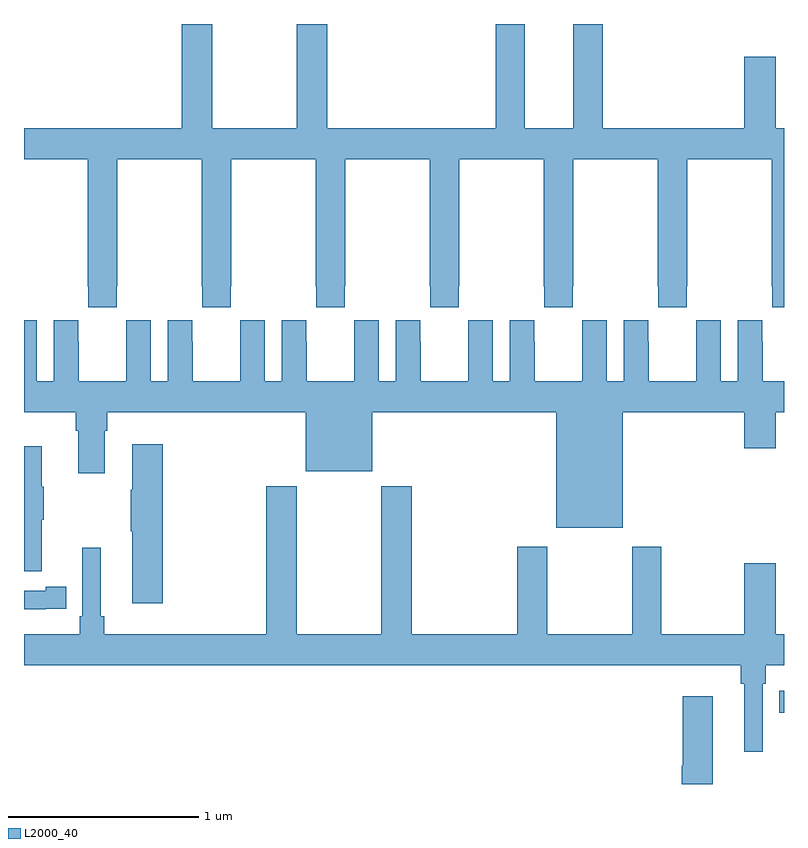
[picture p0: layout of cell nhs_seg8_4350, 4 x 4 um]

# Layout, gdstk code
import gdstk
lib = gdstk.Library(unit=1e-6, precision=1e-09)
def R(c, l, rs):  # rectangles x0, y0, x1, y1
    for r in rs: c.add(gdstk.rectangle(r[:2], r[2:], *l))
def P(c, l, *ps):  # polygons
    for p in ps: c.add(gdstk.Polygon(p, *l))
L2000_40 = (2000, 40)

nhs_seg8_4350 = lib.new_cell('nhs_seg8_4350')
R(nhs_seg8_4350, L2000_40, [(380.974,1092.274,381,1092.39)])
P(nhs_seg8_4350, L2000_40, [(377.487,1094.521),(377.49,1094.521),(377.49,1095.188),(377.935,1095.188),(377.935,1094.521),(377.937,1094.521),(377.937,1094.409),(378.087,1094.409),(378.087,1094.521),(378.09,1094.521),(378.09,1095.188),(378.535,1095.188),(378.535,1094.521),(378.537,1094.521),(378.537,1094.409),(378.687,1094.409),(378.687,1094.521),(378.69,1094.521),(378.69,1095.188),(379.135,1095.188),(379.135,1094.521),(379.137,1094.521),(379.137,1094.409),(379.287,1094.409),(379.287,1094.521),(379.29,1094.521),(379.29,1095.188),(379.735,1095.188),(379.735,1094.521),(379.737,1094.521),(379.737,1094.409),(379.887,1094.409),(379.887,1094.521),(379.89,1094.521),(379.89,1095.188),(380.335,1095.188),(380.335,1094.521),(380.337,1094.521),(380.337,1094.409),(380.487,1094.409),(380.487,1094.521),(380.49,1094.521),(380.49,1095.188),(380.935,1095.188),(380.935,1094.521),(380.937,1094.521),(380.937,1094.409),(381,1094.409),(381,1095.352),(380.956,1095.352),(380.956,1095.727),(380.792,1095.727),(380.792,1095.352),(380.045,1095.352),(380.045,1095.9),(379.892,1095.9),(379.892,1095.352),(379.636,1095.352),(379.636,1095.9),(379.484,1095.9),(379.484,1095.352),(378.596,1095.352),(378.596,1095.9),(378.436,1095.9),(378.436,1095.352),(377.991,1095.352),(377.991,1095.9),(377.831,1095.9),(377.831,1095.352),(377,1095.352),(377,1095.188),(377.335,1095.188),(377.335,1094.521),(377.337,1094.521),(377.337,1094.409),(377.487,1094.409)],
  [(380.886,1094.228),(380.886,1094.341),(380.756,1094.341),(380.756,1094.02),(380.668,1094.02),(380.668,1094.341),(380.538,1094.341),(380.538,1094.228),(380.537,1094.228),(380.537,1094.02),(380.287,1094.02),(380.287,1094.228),(380.286,1094.228),(380.286,1094.341),(380.156,1094.341),(380.156,1094.02),(380.068,1094.02),(380.068,1094.341),(379.938,1094.341),(379.938,1094.228),(379.937,1094.228),(379.937,1094.02),(379.687,1094.02),(379.687,1094.228),(379.686,1094.228),(379.686,1094.341),(379.556,1094.341),(379.556,1094.02),(379.468,1094.02),(379.468,1094.341),(379.338,1094.341),(379.338,1094.228),(379.337,1094.228),(379.337,1094.02),(379.087,1094.02),(379.087,1094.228),(379.086,1094.228),(379.086,1094.341),(378.956,1094.341),(378.956,1094.02),(378.868,1094.02),(378.868,1094.341),(378.738,1094.341),(378.738,1094.228),(378.737,1094.228),(378.737,1094.02),(378.487,1094.02),(378.487,1094.228),(378.486,1094.228),(378.486,1094.341),(378.356,1094.341),(378.356,1094.02),(378.268,1094.02),(378.268,1094.341),(378.138,1094.341),(378.138,1094.228),(378.137,1094.228),(378.137,1094.02),(377.887,1094.02),(377.887,1094.228),(377.886,1094.228),(377.886,1094.341),(377.756,1094.341),(377.756,1094.02),(377.668,1094.02),(377.668,1094.341),(377.538,1094.341),(377.538,1094.228),(377.537,1094.228),(377.537,1094.02),(377.287,1094.02),(377.287,1094.228),(377.286,1094.228),(377.286,1094.341),(377.156,1094.341),(377.156,1094.02),(377.068,1094.02),(377.068,1094.341),(377,1094.341),(377,1093.856),(377.273,1093.856),(377.273,1093.76),(377.285,1093.76),(377.285,1093.536),(377.425,1093.536),(377.425,1093.76),(377.438,1093.76),(377.438,1093.856),(378.482,1093.856),(378.482,1093.547),(378.832,1093.547),(378.832,1093.856),(379.802,1093.856),(379.802,1093.25),(380.152,1093.25),(380.152,1093.856),(380.792,1093.856),(380.792,1093.668),(380.956,1093.668),(380.956,1093.856),(381,1093.856),(381,1094.02),(380.887,1094.02),(380.887,1094.228)],
  [(377.729,1093.687),(377.57,1093.687),(377.57,1093.448),(377.563,1093.448),(377.563,1093.231),(377.57,1093.231),(377.57,1092.852),(377.729,1092.852)],
  [(377.093,1093.291),(377.104,1093.291),(377.104,1093.465),(377.093,1093.465),(377.093,1093.678),(377,1093.678),(377,1093.02),(377.093,1093.02)],
  [(380.889,1092.428),(380.903,1092.428),(380.903,1092.524),(381,1092.524),(381,1092.688),(380.956,1092.688),(380.956,1093.063),(380.792,1093.063),(380.792,1092.688),(380.355,1092.688),(380.355,1093.15),(380.2,1093.15),(380.2,1092.688),(379.755,1092.688),(379.755,1093.15),(379.595,1093.15),(379.595,1092.688),(379.04,1092.688),(379.04,1093.468),(378.88,1093.468),(378.88,1092.688),(378.435,1092.688),(378.435,1093.468),(378.275,1093.468),(378.275,1092.688),(377.423,1092.688),(377.423,1092.784),(377.404,1092.784),(377.404,1093.144),(377.307,1093.144),(377.307,1092.784),(377.294,1092.784),(377.294,1092.688),(377,1092.688),(377,1092.524),(380.773,1092.524),(380.773,1092.428),(380.792,1092.428),(380.792,1092.069),(380.889,1092.069)],
  [(377.114,1092.822),(377.222,1092.822),(377.222,1092.938),(377.114,1092.938),(377.114,1092.918),(377,1092.918),(377,1092.821),(377.114,1092.821)],
  [(380.626,1092.361),(380.468,1092.361),(380.468,1091.997),(380.462,1091.997),(380.462,1091.9),(380.626,1091.9)])

lib.write_gds('nhs_seg8_4350.gds')
